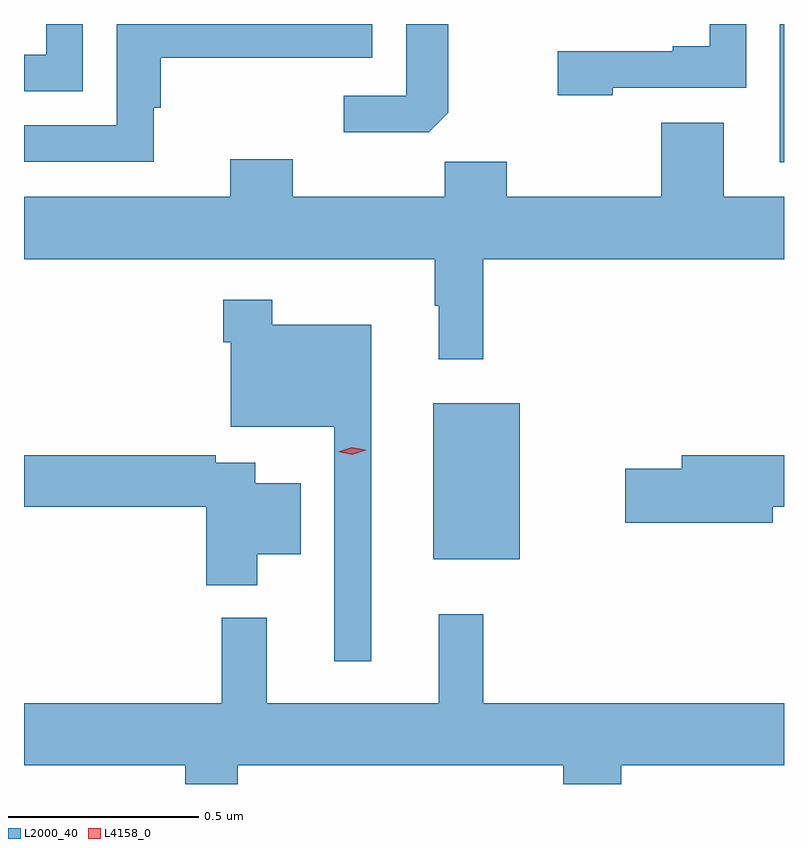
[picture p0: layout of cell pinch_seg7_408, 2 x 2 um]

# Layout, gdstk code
import gdstk
lib = gdstk.Library(unit=1e-6, precision=1e-09)
def R(c, l, rs):  # rectangles x0, y0, x1, y1
    for r in rs: c.add(gdstk.rectangle(r[:2], r[2:], *l))
def P(c, l, *ps):  # polygons
    for p in ps: c.add(gdstk.Polygon(p, *l))
L2000_40 = (2000, 40)
L4158_0 = (4158, 0)

pinch_seg7_408 = lib.new_cell('pinch_seg7_408')
R(pinch_seg7_408, L2000_40, [(605.723,1027.799,605.95,1028.209), (606.635,1028.843,606.646,1029.207)])
P(pinch_seg7_408, L2000_40, [(604.8,1029.207),(604.704,1029.207),(604.704,1029.126),(604.646,1029.126),(604.646,1029.03),(604.8,1029.03)],
  [(605.763,1028.973),(605.763,1029.207),(605.652,1029.207),(605.652,1029.018),(605.487,1029.018),(605.487,1028.922),(605.711,1028.922)],
  [(604.988,1028.987),(605.006,1028.987),(605.006,1029.118),(605.563,1029.118),(605.563,1029.207),(604.89,1029.207),(604.89,1028.94),(604.646,1028.94),(604.646,1028.844),(604.988,1028.844)],
  [(606.195,1029.039),(606.546,1029.039),(606.546,1029.207),(606.45,1029.207),(606.45,1029.148),(606.353,1029.148),(606.353,1029.135),(606.051,1029.135),(606.051,1029.02),(606.195,1029.02)],
  [(605.855,1028.588),(606.646,1028.588),(606.646,1028.752),(606.487,1028.752),(606.487,1028.947),(606.323,1028.947),(606.323,1028.752),(605.917,1028.752),(605.917,1028.845),(605.753,1028.845),(605.753,1028.752),(605.353,1028.752),(605.353,1028.851),(605.189,1028.851),(605.189,1028.752),(604.646,1028.752),(604.646,1028.588),(605.727,1028.588),(605.727,1028.465),(605.738,1028.465),(605.738,1028.325),(605.855,1028.325)],
  [(605.56,1028.416),(605.299,1028.416),(605.299,1028.482),(605.17,1028.482),(605.17,1028.369),(605.19,1028.369),(605.19,1028.147),(605.463,1028.147),(605.463,1027.53),(605.56,1027.53)],
  [(606.616,1027.936),(606.646,1027.936),(606.646,1028.072),(606.377,1028.072),(606.377,1028.036),(606.228,1028.036),(606.228,1027.894),(606.616,1027.894)],
  [(605.26,1027.811),(605.374,1027.811),(605.374,1027.999),(605.254,1027.999),(605.254,1028.052),(605.15,1028.052),(605.15,1028.072),(604.646,1028.072),(604.646,1027.936),(605.126,1027.936),(605.126,1027.73),(605.26,1027.73)],
  [(605.209,1027.256),(606.065,1027.256),(606.065,1027.207),(606.218,1027.207),(606.218,1027.256),(606.646,1027.256),(606.646,1027.42),(605.855,1027.42),(605.855,1027.654),(605.738,1027.654),(605.738,1027.42),(605.285,1027.42),(605.285,1027.645),(605.167,1027.645),(605.167,1027.42),(604.646,1027.42),(604.646,1027.256),(605.07,1027.256),(605.07,1027.207),(605.209,1027.207)])
P(pinch_seg7_408, L4158_0, [(605.51,1028.073),(605.473,1028.081),(605.473,1028.081),(605.473,1028.082),(605.509,1028.093),(605.545,1028.086),(605.545,1028.086),(605.545,1028.085)])

lib.write_gds('pinch_seg7_408.gds')
